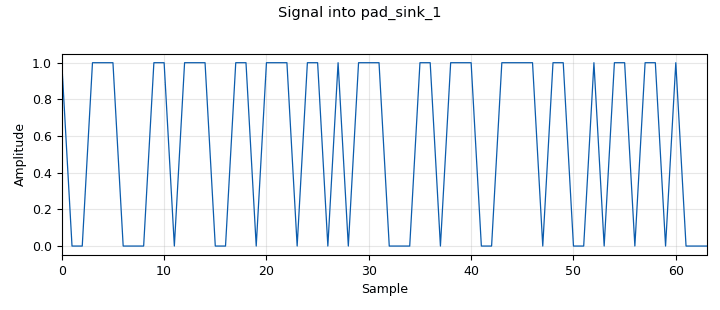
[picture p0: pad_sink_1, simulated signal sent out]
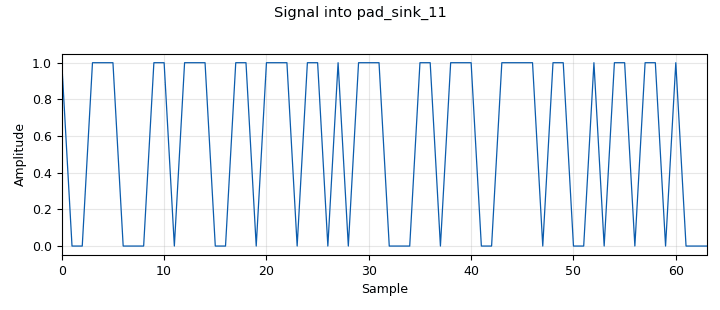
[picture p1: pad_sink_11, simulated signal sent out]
options:
  parameters:
    author: Cristóvão Rufino
    generate_options: hb
    id: rs_ber_generator
    output_language: python
    title: RS BER Generator
  states: {}

blocks:
- name: analog_random_uniform_source_x_0
  id: analog_random_uniform_source_x
  parameters:
    maximum: '2'
    minimum: '0'
    seed: '0'
    type: byte
  states: {}
- name: pad_sink_0
  id: pad_sink
  parameters:
    label: out00
    type: byte
  states: {}
- name: pad_sink_1
  id: pad_sink
  parameters:
    label: out01
    type: byte
  states: {}
- name: pad_sink_10
  id: pad_sink
  parameters:
    label: out10
    type: byte
  states: {}
- name: pad_sink_11
  id: pad_sink
  parameters:
    label: out11
    type: byte
  states: {}
- name: pad_sink_12
  id: pad_sink
  parameters:
    label: out12
    type: byte
  states: {}
- name: pad_sink_13
  id: pad_sink
  parameters:
    label: out13
    type: byte
  states: {}
- name: pad_sink_14
  id: pad_sink
  parameters:
    label: out14
    type: byte
  states: {}
- name: pad_sink_15
  id: pad_sink
  parameters:
    label: out15
    type: byte
  states: {}
- name: pad_sink_2
  id: pad_sink
  parameters:
    label: out02
    type: byte
  states: {}
- name: pad_sink_3
  id: pad_sink
  parameters:
    label: out03
    type: byte
  states: {}
- name: pad_sink_4
  id: pad_sink
  parameters:
    label: out04
    type: byte
  states: {}
- name: pad_sink_5
  id: pad_sink
  parameters:
    label: out05
    type: byte
  states: {}
- name: pad_sink_6
  id: pad_sink
  parameters:
    label: out06
    type: byte
  states: {}
- name: pad_sink_7
  id: pad_sink
  parameters:
    label: out07
    type: byte
  states: {}
- name: pad_sink_8
  id: pad_sink
  parameters:
    label: out08
    type: byte
  states: {}
- name: pad_sink_9
  id: pad_sink
  parameters:
    label: out09
    type: byte
  states: {}
- name: rs_ber_one_stage_0
  id: rs_ber_one_stage
  parameters:
    noise_voltage: 10**-0
  states: {}
- name: rs_ber_one_stage_0_0
  id: rs_ber_one_stage
  parameters:
    noise_voltage: 10**-.5
  states: {}
- name: rs_ber_one_stage_0_0_0
  id: rs_ber_one_stage
  parameters:
    noise_voltage: 10**-1.5
  states: {}
- name: rs_ber_one_stage_0_0_0_0
  id: rs_ber_one_stage
  parameters:
    noise_voltage: 10**-3.5
  states: {}
- name: rs_ber_one_stage_0_0_1
  id: rs_ber_one_stage
  parameters:
    noise_voltage: 10**-2.5
  states: {}
- name: rs_ber_one_stage_0_1
  id: rs_ber_one_stage
  parameters:
    noise_voltage: 10**-1
  states: {}
- name: rs_ber_one_stage_0_1_0
  id: rs_ber_one_stage
  parameters:
    noise_voltage: 10**-3
  states: {}
- name: rs_ber_one_stage_0_2
  id: rs_ber_one_stage
  parameters:
    noise_voltage: 10**-2
  states: {}
- name: virtual_sink_0
  id: virtual_sink
  parameters:
    stream_id: randSource
  states: {}
- name: virtual_source_0
  id: virtual_source
  parameters:
    stream_id: randSource
  states: {}
- name: virtual_source_0_0
  id: virtual_source
  parameters:
    stream_id: randSource
  states: {}
- name: virtual_source_0_0_0
  id: virtual_source
  parameters:
    stream_id: randSource
  states: {}
- name: virtual_source_0_0_1
  id: virtual_source
  parameters:
    stream_id: randSource
  states: {}
- name: virtual_source_0_0_2
  id: virtual_source
  parameters:
    stream_id: randSource
  states: {}
- name: virtual_source_0_0_2_0
  id: virtual_source
  parameters:
    stream_id: randSource
  states: {}
- name: virtual_source_0_0_2_1
  id: virtual_source
  parameters:
    stream_id: randSource
  states: {}
- name: virtual_source_0_1
  id: virtual_source
  parameters:
    stream_id: randSource
  states: {}
- name: virtual_source_0_1_0
  id: virtual_source
  parameters:
    stream_id: randSource
  states: {}
- name: virtual_source_0_1_1
  id: virtual_source
  parameters:
    stream_id: randSource
  states: {}
- name: virtual_source_0_1_1_0
  id: virtual_source
  parameters:
    stream_id: randSource
  states: {}
- name: virtual_source_0_2
  id: virtual_source
  parameters:
    stream_id: randSource
  states: {}
- name: virtual_source_0_3
  id: virtual_source
  parameters:
    stream_id: randSource
  states: {}
- name: virtual_source_0_4
  id: virtual_source
  parameters:
    stream_id: randSource
  states: {}
- name: virtual_source_0_4_0
  id: virtual_source
  parameters:
    stream_id: randSource
  states: {}
- name: virtual_source_0_4_1
  id: virtual_source
  parameters:
    stream_id: randSource
  states: {}

connections:
- [analog_random_uniform_source_x_0, '0', virtual_sink_0, '0']
- [rs_ber_one_stage_0, '0', pad_sink_0, '0']
- [rs_ber_one_stage_0_0, '0', pad_sink_2, '0']
- [rs_ber_one_stage_0_0_0, '0', pad_sink_6, '0']
- [rs_ber_one_stage_0_0_0_0, '0', pad_sink_14, '0']
- [rs_ber_one_stage_0_0_1, '0', pad_sink_10, '0']
- [rs_ber_one_stage_0_1, '0', pad_sink_4, '0']
- [rs_ber_one_stage_0_1_0, '0', pad_sink_12, '0']
- [rs_ber_one_stage_0_2, '0', pad_sink_8, '0']
- [virtual_source_0, '0', pad_sink_1, '0']
- [virtual_source_0_0, '0', pad_sink_3, '0']
- [virtual_source_0_0_0, '0', pad_sink_9, '0']
- [virtual_source_0_0_1, '0', pad_sink_15, '0']
- [virtual_source_0_0_2, '0', rs_ber_one_stage_0_0, '0']
- [virtual_source_0_0_2_0, '0', rs_ber_one_stage_0_2, '0']
- [virtual_source_0_0_2_1, '0', rs_ber_one_stage_0_0_0_0, '0']
- [virtual_source_0_1, '0', pad_sink_5, '0']
- [virtual_source_0_1_0, '0', pad_sink_11, '0']
- [virtual_source_0_1_1, '0', rs_ber_one_stage_0_1, '0']
- [virtual_source_0_1_1_0, '0', rs_ber_one_stage_0_0_1, '0']
- [virtual_source_0_2, '0', pad_sink_7, '0']
- [virtual_source_0_3, '0', pad_sink_13, '0']
- [virtual_source_0_4, '0', rs_ber_one_stage_0, '0']
- [virtual_source_0_4_0, '0', rs_ber_one_stage_0_0_0, '0']
- [virtual_source_0_4_1, '0', rs_ber_one_stage_0_1_0, '0']

metadata:
  file_format: 1
  grc_version: 3.10.8.0
